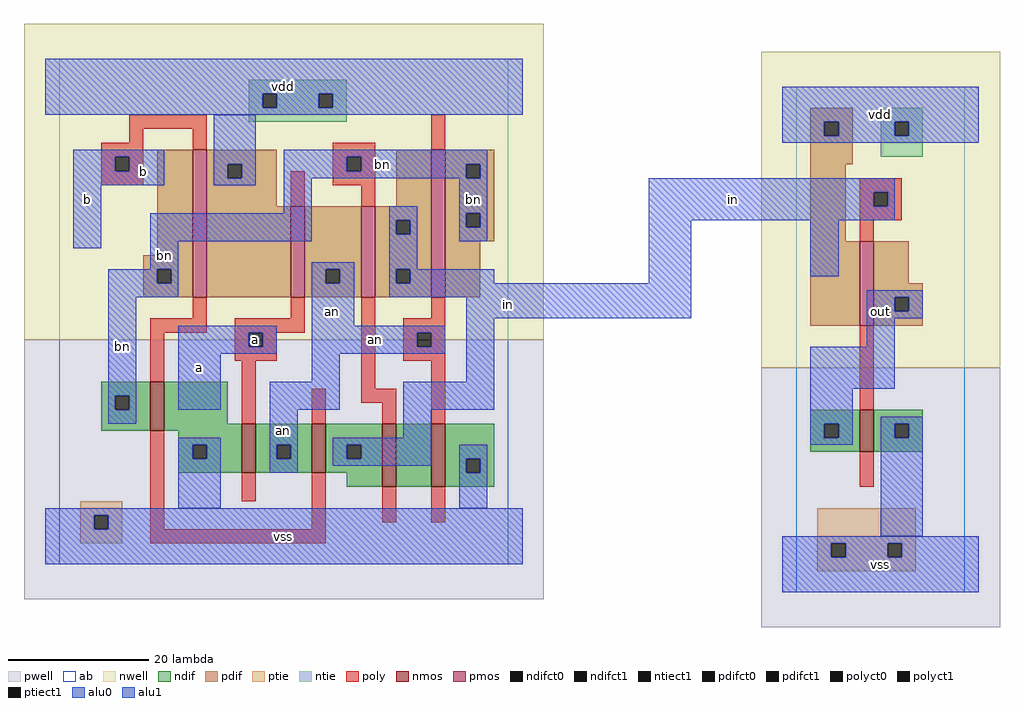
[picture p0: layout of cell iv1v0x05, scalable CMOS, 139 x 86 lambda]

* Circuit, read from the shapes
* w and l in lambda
.subckt iv1v0x05 a an b bn in out vdd vss
M1 vss b bn vss nfet w=7 l=2
M2 an a vss vss nfet w=7 l=2
M3 in b an vss nfet w=7 l=2
M4 n1 bn in vss nfet w=9 l=2
M5 vss an n1 vss nfet w=9 l=2
M6 vss in out vss nfet w=6 l=2
M7 vdd b bn vdd pfet w=21 l=2
M8 an a vdd vdd pfet w=13 l=2
M9 in bn an vdd pfet w=13 l=2
M10 bn an in vdd pfet w=21 l=2
M11 out in vdd vdd pfet w=12 l=2
.ends

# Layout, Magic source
magic
tech scmos
<< ab >>
rect -105 4 -41 76
rect 0 0 24 72
<< nwell >>
rect -110 36 -36 81
rect -5 32 29 77
<< pwell >>
rect -110 -1 -36 36
rect -5 -5 29 32
<< poly >>
rect -95 66 -84 68
rect -95 64 -93 66
rect -99 62 -93 64
rect -86 63 -84 66
rect -99 60 -97 62
rect -95 60 -93 62
rect -99 58 -93 60
rect -66 62 -60 64
rect -52 63 -50 68
rect -66 60 -64 62
rect -62 60 -60 62
rect -72 55 -70 60
rect -66 58 -60 60
rect -62 55 -60 58
rect 9 57 15 59
rect 9 55 11 57
rect 13 55 15 57
rect 9 53 15 55
rect 9 50 11 53
rect -86 39 -84 42
rect -72 39 -70 42
rect -92 37 -84 39
rect -80 37 -70 39
rect -92 30 -90 37
rect -80 35 -78 37
rect -76 35 -74 37
rect -80 33 -74 35
rect -79 24 -77 33
rect -62 29 -60 42
rect -52 39 -50 42
rect -56 37 -50 39
rect -56 35 -54 37
rect -52 35 -50 37
rect -56 33 -50 35
rect -69 24 -67 29
rect -62 27 -57 29
rect -59 24 -57 27
rect -52 24 -50 33
rect 9 26 11 38
rect -92 9 -90 23
rect -79 13 -77 17
rect -69 9 -67 17
rect 9 15 11 20
rect -59 10 -57 15
rect -52 10 -50 15
rect -92 7 -67 9
<< ndif >>
rect -99 28 -92 30
rect -99 26 -97 28
rect -95 26 -92 28
rect -99 23 -92 26
rect -90 24 -81 30
rect 2 24 9 26
rect -90 23 -79 24
rect -88 21 -79 23
rect -88 19 -86 21
rect -84 19 -79 21
rect -88 17 -79 19
rect -77 21 -69 24
rect -77 19 -74 21
rect -72 19 -69 21
rect -77 17 -69 19
rect -67 21 -59 24
rect -67 19 -64 21
rect -62 19 -59 21
rect -67 17 -59 19
rect -64 15 -59 17
rect -57 15 -52 24
rect -50 19 -43 24
rect 2 22 4 24
rect 6 22 9 24
rect 2 20 9 22
rect 11 24 18 26
rect 11 22 14 24
rect 16 22 18 24
rect 11 20 18 22
rect -50 17 -47 19
rect -45 17 -43 19
rect -50 15 -43 17
<< pdif >>
rect -91 48 -86 63
rect -93 46 -86 48
rect -93 44 -91 46
rect -89 44 -86 46
rect -93 42 -86 44
rect -84 61 -74 63
rect -84 59 -81 61
rect -79 59 -74 61
rect 2 67 8 69
rect 2 65 4 67
rect 6 65 8 67
rect -84 55 -74 59
rect -57 55 -52 63
rect -84 42 -72 55
rect -70 46 -62 55
rect -70 44 -67 46
rect -65 44 -62 46
rect -70 42 -62 44
rect -60 53 -52 55
rect -60 51 -57 53
rect -55 51 -52 53
rect -60 46 -52 51
rect -60 44 -57 46
rect -55 44 -52 46
rect -60 42 -52 44
rect -50 61 -43 63
rect -50 59 -47 61
rect -45 59 -43 61
rect -50 54 -43 59
rect -50 52 -47 54
rect -45 52 -43 54
rect -50 50 -43 52
rect 2 61 8 65
rect 2 50 7 61
rect -50 42 -45 50
rect 2 38 9 50
rect 11 44 16 50
rect 11 42 18 44
rect 11 40 14 42
rect 16 40 18 42
rect 11 38 18 40
<< alu1 >>
rect -107 71 -39 76
rect -107 69 -76 71
rect -74 69 -68 71
rect -66 69 -39 71
rect -107 68 -39 69
rect -103 62 -90 63
rect -103 60 -97 62
rect -95 60 -90 62
rect -103 58 -90 60
rect -2 67 26 72
rect -2 65 4 67
rect 6 65 14 67
rect 16 65 26 67
rect -2 64 26 65
rect -103 49 -99 58
rect -58 53 -54 55
rect -58 51 -57 53
rect -55 51 -54 53
rect -58 46 -54 51
rect -21 57 14 59
rect -21 55 11 57
rect 13 55 14 57
rect -21 53 14 55
rect -58 44 -57 46
rect -55 44 -43 46
rect -21 44 -15 53
rect 2 45 6 53
rect -58 42 -15 44
rect -47 39 -15 42
rect 10 42 18 43
rect 10 40 14 42
rect 16 40 18 42
rect 10 39 18 40
rect -88 37 -74 38
rect -88 35 -78 37
rect -76 35 -74 37
rect -88 34 -74 35
rect -88 26 -82 34
rect -47 30 -43 39
rect 10 35 14 39
rect -56 26 -43 30
rect 2 29 14 35
rect -56 22 -52 26
rect -66 21 -52 22
rect 2 24 8 29
rect 2 22 4 24
rect 6 22 8 24
rect 2 21 8 22
rect -66 19 -64 21
rect -62 19 -52 21
rect -66 18 -52 19
rect -107 11 -39 12
rect -107 9 -100 11
rect -98 9 -39 11
rect -107 4 -39 9
rect -2 7 26 8
rect -2 5 5 7
rect 7 5 13 7
rect 15 5 26 7
rect -2 0 26 5
<< ptie >>
rect -102 11 -96 13
rect -102 9 -100 11
rect -98 9 -96 11
rect -102 7 -96 9
rect 3 7 17 12
rect 3 5 5 7
rect 7 5 13 7
rect 15 5 17 7
rect 3 3 17 5
<< ntie >>
rect -78 71 -64 73
rect -78 69 -76 71
rect -74 69 -68 71
rect -66 69 -64 71
rect -78 67 -64 69
rect 12 67 18 69
rect 12 65 14 67
rect 16 65 18 67
rect 12 62 18 65
<< nmos >>
rect -92 23 -90 30
rect -79 17 -77 24
rect -69 17 -67 24
rect -59 15 -57 24
rect -52 15 -50 24
rect 9 20 11 26
<< pmos >>
rect -86 42 -84 63
rect -72 42 -70 55
rect -62 42 -60 55
rect -52 42 -50 63
rect 9 38 11 50
<< polyct0 >>
rect -64 60 -62 62
rect -54 35 -52 37
<< polyct1 >>
rect -97 60 -95 62
rect 11 55 13 57
rect -78 35 -76 37
<< ndifct0 >>
rect -97 26 -95 28
rect -86 19 -84 21
rect -74 19 -72 21
rect 14 22 16 24
rect -47 17 -45 19
<< ndifct1 >>
rect -64 19 -62 21
rect 4 22 6 24
<< ntiect1 >>
rect -76 69 -74 71
rect -68 69 -66 71
rect 14 65 16 67
<< ptiect1 >>
rect -100 9 -98 11
rect 5 5 7 7
rect 13 5 15 7
<< pdifct0 >>
rect -91 44 -89 46
rect -81 59 -79 61
rect -67 44 -65 46
rect -47 59 -45 61
rect -47 52 -45 54
<< pdifct1 >>
rect 4 65 6 67
rect -57 51 -55 53
rect -57 44 -55 46
rect 14 40 16 42
<< alu0 >>
rect -83 61 -77 68
rect -83 59 -81 61
rect -79 59 -77 61
rect -83 58 -77 59
rect -73 62 -44 63
rect -73 60 -64 62
rect -62 61 -44 62
rect -62 60 -47 61
rect -73 59 -47 60
rect -45 59 -44 61
rect -73 54 -69 59
rect -92 50 -69 54
rect -92 46 -88 50
rect -98 44 -91 46
rect -89 44 -88 46
rect -98 42 -88 44
rect -69 46 -63 47
rect -69 44 -67 46
rect -65 44 -63 46
rect -98 28 -94 42
rect -69 38 -63 44
rect -48 54 -44 59
rect -48 52 -47 54
rect -45 52 -44 54
rect -48 50 -44 52
rect -98 26 -97 28
rect -95 26 -94 28
rect -69 37 -50 38
rect -69 35 -54 37
rect -52 35 -50 37
rect -69 34 -50 35
rect -69 30 -65 34
rect -75 26 -65 30
rect -98 24 -94 26
rect -88 21 -82 22
rect -88 19 -86 21
rect -84 19 -82 21
rect -88 12 -82 19
rect -75 21 -71 26
rect -75 19 -74 21
rect -72 19 -71 21
rect -75 17 -71 19
rect 12 24 18 25
rect 12 22 14 24
rect 16 22 18 24
rect -48 19 -44 21
rect -48 17 -47 19
rect -45 17 -44 19
rect -48 12 -44 17
rect 12 8 18 22
<< labels >>
rlabel alu1 12 4 12 4 6 vss
rlabel alu1 12 68 12 68 6 vdd
rlabel alu0 -90 48 -90 48 6 bn
rlabel alu0 -96 35 -96 35 6 bn
rlabel alu0 -73 23 -73 23 6 an
rlabel alu0 -66 40 -66 40 6 an
rlabel alu0 -60 36 -60 36 6 an
rlabel alu0 -46 56 -46 56 6 bn
rlabel alu0 -59 61 -59 61 6 bn
rlabel alu1 -101 56 -101 56 6 b
rlabel alu1 -93 60 -93 60 6 b
rlabel alu1 -85 32 -85 32 6 a
rlabel polyct1 -77 36 -77 36 6 a
rlabel alu1 -73 8 -73 8 6 vss
rlabel alu1 -73 72 -73 72 6 vdd
rlabel alu1 -9 56 -9 56 1 in
rlabel alu1 12 40 12 40 1 out
rlabel alu1 -41 41 -41 41 1 in
<< end >>
